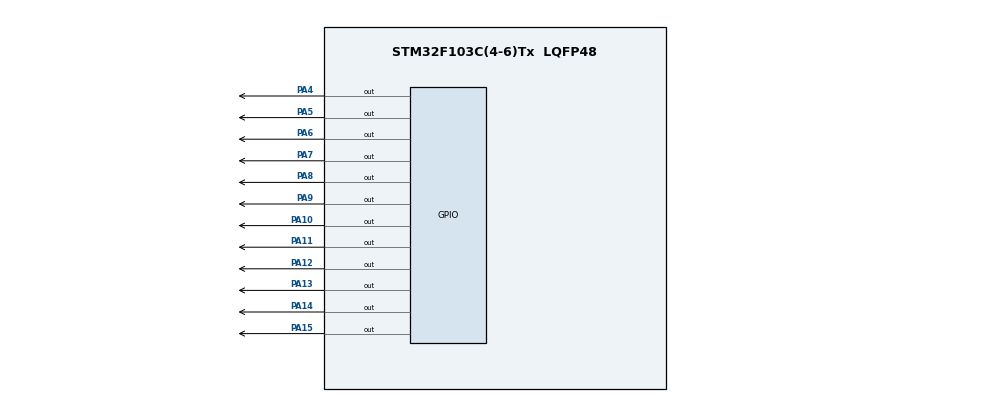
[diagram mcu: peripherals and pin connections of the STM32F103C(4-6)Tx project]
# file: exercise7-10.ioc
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Mcu.Family=STM32F1
Mcu.Name=STM32F103C(4-6)Tx
Mcu.Package=LQFP48
NVIC.PriorityGroup=NVIC_PRIORITYGROUP_4
PA10.Signal=GPIO_Output
PA11.Signal=GPIO_Output
PA12.Signal=GPIO_Output
PA13.Signal=GPIO_Output
PA14.Signal=GPIO_Output
PA15.Signal=GPIO_Output
PA4.Signal=GPIO_Output
PA5.Signal=GPIO_Output
PA6.Signal=GPIO_Output
PA7.Signal=GPIO_Output
PA8.Signal=GPIO_Output
PA9.Signal=GPIO_Output
ProjectManager.HeapSize=0x200
ProjectManager.StackSize=0x400
ProjectManager.TargetToolchain=STM32CubeIDE
RCC.APB1Freq_Value=8000000
RCC.APB2Freq_Value=8000000
board=custom

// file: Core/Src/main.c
/* USER CODE BEGIN Header */
/**
 ******************************************************************************
 * @file           : main.c
 * @brief          : Main program body
 ******************************************************************************
 * @attention
 *
 * Copyright (c) 2022 STMicroelectronics.
 * All rights reserved.
 *
 * This software is licensed under terms that can be found in the LICENSE file
 * in the root directory of this software component.
 * If no LICENSE file comes with this software, it is provided AS-IS.
 *
 ******************************************************************************
 */
/* USER CODE END Header */
#include "main.h"

void SystemClock_Config(void);
static void MX_GPIO_Init(void);

int main(void) {

	/* MCU Configuration--------------------------------------------------------*/

	/* Reset of all peripherals, Initializes the Flash interface and the Systick. */
	HAL_Init();

	/* Configure the system clock */
	SystemClock_Config();

	/* Initialize all configured peripherals */
	MX_GPIO_Init();
	/* USER CODE BEGIN 2 */
	void clearAllClock() {
		HAL_GPIO_WritePin(GPIOA, GPIO_PIN_4, 0);
		HAL_GPIO_WritePin(GPIOA, GPIO_PIN_5, 0);
		HAL_GPIO_WritePin(GPIOA, GPIO_PIN_6, 0);
		HAL_GPIO_WritePin(GPIOA, GPIO_PIN_7, 0);

		HAL_GPIO_WritePin(GPIOA, GPIO_PIN_8, 0);
		HAL_GPIO_WritePin(GPIOA, GPIO_PIN_9, 0);
		HAL_GPIO_WritePin(GPIOA, GPIO_PIN_10, 0);
		HAL_GPIO_WritePin(GPIOA, GPIO_PIN_11, 0);
		HAL_GPIO_WritePin(GPIOA, GPIO_PIN_12, 0);
		HAL_GPIO_WritePin(GPIOA, GPIO_PIN_13, 0);

		HAL_GPIO_WritePin(GPIOA, GPIO_PIN_14, 0);
		HAL_GPIO_WritePin(GPIOA, GPIO_PIN_15, 0);

	}
	void setNumberOnClockwithpinState(int num, int pinState) {
		switch (num) {
		case 0:
			HAL_GPIO_WritePin(GPIOA, GPIO_PIN_4, pinState);
			break;
		case 1:
			HAL_GPIO_WritePin(GPIOA, GPIO_PIN_5, pinState);
			break;
		case 2:
			HAL_GPIO_WritePin(GPIOA, GPIO_PIN_6, pinState);
			break;
		case 3:
			HAL_GPIO_WritePin(GPIOA, GPIO_PIN_7, pinState);
			break;
		case 4:
			HAL_GPIO_WritePin(GPIOA, GPIO_PIN_8, pinState);
			break;
		case 5:
			HAL_GPIO_WritePin(GPIOA, GPIO_PIN_9, pinState);
			break;
		case 6:
			HAL_GPIO_WritePin(GPIOA, GPIO_PIN_10, pinState);
			break;
		case 7:
			HAL_GPIO_WritePin(GPIOA, GPIO_PIN_11, pinState);
			break;
		case 8:
			HAL_GPIO_WritePin(GPIOA, GPIO_PIN_12, pinState);
			break;
		case 9:
			HAL_GPIO_WritePin(GPIOA, GPIO_PIN_13, pinState);
			break;
		case 10:
			HAL_GPIO_WritePin(GPIOA, GPIO_PIN_14, pinState);
			break;
		case 11:
			HAL_GPIO_WritePin(GPIOA, GPIO_PIN_15, pinState);
			break;
		default:
			clearAllClock();
		}
	}
	void setNumberOnClock(int num){
		setNumberOnClockwithpinState(num, 1);
	}
	void clearNumberOnClock(int num){
			setNumberOnClockwithpinState(num, 0);
	}
	/* USER CODE END 2 */

	/* Infinite loop */
	/* USER CODE BEGIN WHILE */
	int hour=3;
	int minute=45;
	int second=50;
	int real_minute=minute/5;
	int real_second=second/5;
	setNumberOnClock(hour);
	while (1) {
		/* USER CODE END WHILE */
		setNumberOnClock(hour);
		setNumberOnClock(real_minute);
		setNumberOnClock(real_second);
	}
}

void SystemClock_Config(void) {
	RCC_OscInitTypeDef RCC_OscInitStruct = { 0 };
	RCC_ClkInitTypeDef RCC_ClkInitStruct = { 0 };

	/** Initializes the RCC Oscillators according to the specified parameters
	 * in the RCC_OscInitTypeDef structure.
	 */
	RCC_OscInitStruct.OscillatorType = RCC_OSCILLATORTYPE_HSI;
	RCC_OscInitStruct.HSIState = RCC_HSI_ON;
	RCC_OscInitStruct.HSICalibrationValue = RCC_HSICALIBRATION_DEFAULT;
	RCC_OscInitStruct.PLL.PLLState = RCC_PLL_NONE;
	if (HAL_RCC_OscConfig(&RCC_OscInitStruct) != HAL_OK) {
		Error_Handler();
	}

	/** Initializes the CPU, AHB and APB buses clocks
	 */
	RCC_ClkInitStruct.ClockType = RCC_CLOCKTYPE_HCLK | RCC_CLOCKTYPE_SYSCLK
			| RCC_CLOCKTYPE_PCLK1 | RCC_CLOCKTYPE_PCLK2;
	RCC_ClkInitStruct.SYSCLKSource = RCC_SYSCLKSOURCE_HSI;
	RCC_ClkInitStruct.AHBCLKDivider = RCC_SYSCLK_DIV1;
	RCC_ClkInitStruct.APB1CLKDivider = RCC_HCLK_DIV1;
	RCC_ClkInitStruct.APB2CLKDivider = RCC_HCLK_DIV1;

	if (HAL_RCC_ClockConfig(&RCC_ClkInitStruct, FLASH_LATENCY_0) != HAL_OK) {
		Error_Handler();
	}
}

static void MX_GPIO_Init(void) {
	GPIO_InitTypeDef GPIO_InitStruct = { 0 };

	/* GPIO Ports Clock Enable */
	__HAL_RCC_GPIOA_CLK_ENABLE();

	/*Configure GPIO pin Output Level */
	HAL_GPIO_WritePin(GPIOA,
			GPIO_PIN_4 | GPIO_PIN_5 | GPIO_PIN_6 | GPIO_PIN_7 | GPIO_PIN_8
					| GPIO_PIN_9 | GPIO_PIN_10 | GPIO_PIN_11 | GPIO_PIN_12
					| GPIO_PIN_13 | GPIO_PIN_14 | GPIO_PIN_15, GPIO_PIN_RESET);

	/*Configure GPIO pins : PA4 PA5 PA6 PA7
	 PA8 PA9 PA10 PA11
	 PA12 PA13 PA14 PA15 */
	GPIO_InitStruct.Pin = GPIO_PIN_4 | GPIO_PIN_5 | GPIO_PIN_6 | GPIO_PIN_7
			| GPIO_PIN_8 | GPIO_PIN_9 | GPIO_PIN_10 | GPIO_PIN_11 | GPIO_PIN_12
			| GPIO_PIN_13 | GPIO_PIN_14 | GPIO_PIN_15;
	GPIO_InitStruct.Mode = GPIO_MODE_OUTPUT_PP;
	GPIO_InitStruct.Pull = GPIO_NOPULL;
	GPIO_InitStruct.Speed = GPIO_SPEED_FREQ_LOW;
	HAL_GPIO_Init(GPIOA, &GPIO_InitStruct);

}

void Error_Handler(void) {
	__disable_irq();
	while (1) {
	}
}
